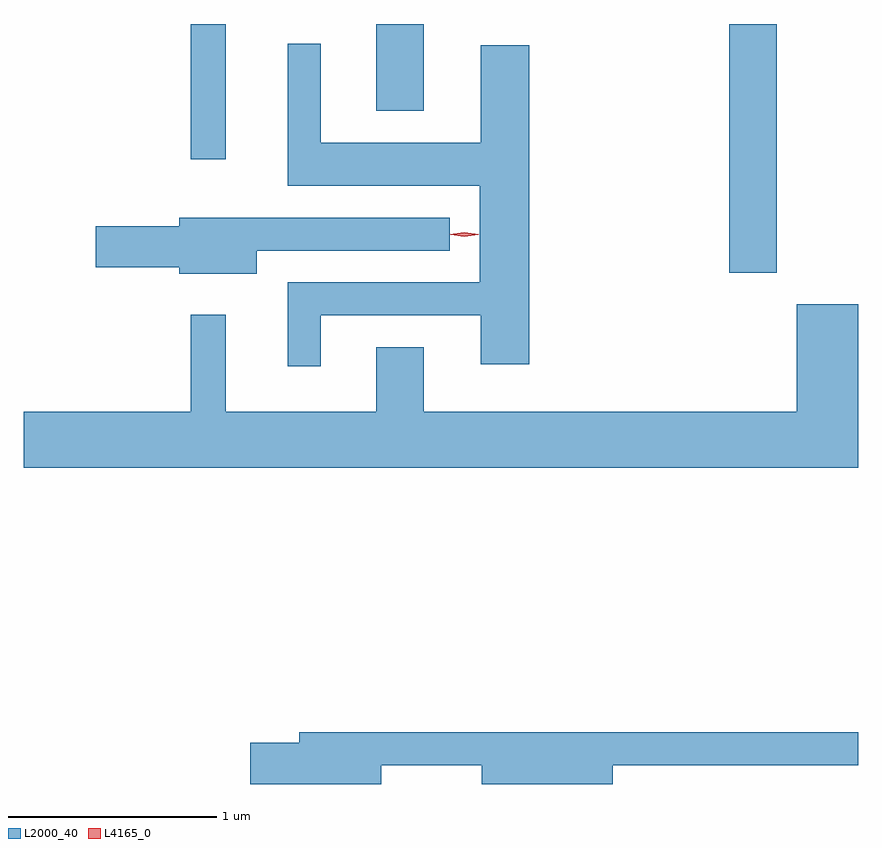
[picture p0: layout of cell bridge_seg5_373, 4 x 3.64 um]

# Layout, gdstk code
import gdstk
lib = gdstk.Library(unit=1e-6, precision=1e-09)
def R(c, l, rs):  # rectangles x0, y0, x1, y1
    for r in rs: c.add(gdstk.rectangle(r[:2], r[2:], *l))
def P(c, l, *ps):  # polygons
    for p in ps: c.add(gdstk.Polygon(p, *l))
L2000_40 = (2000, 40)
L4165_0 = (4165, 0)

bridge_seg5_373 = lib.new_cell('bridge_seg5_373')
R(bridge_seg5_373, L2000_40, [(580.901,1491.031,581.129,1492.222), (578.321,1491.573,578.489,1492.222), (579.211,1491.806,579.439,1492.222)])
P(bridge_seg5_373, L2000_40, [(578.944,1490.826),(579.711,1490.826),(579.711,1490.591),(579.944,1490.591),(579.944,1492.119),(579.711,1492.119),(579.711,1491.654),(578.944,1491.654),(578.944,1492.128),(578.786,1492.128),(578.786,1491.446),(579.706,1491.446),(579.706,1490.984),(578.786,1490.984),(578.786,1490.583),(578.944,1490.583)],
  [(578.639,1491.136),(579.563,1491.136),(579.563,1491.294),(578.266,1491.294),(578.266,1491.254),(577.866,1491.254),(577.866,1491.056),(578.266,1491.056),(578.266,1491.026),(578.639,1491.026)],
  [(581.521,1490.879),(581.226,1490.879),(581.226,1490.364),(579.439,1490.364),(579.439,1490.674),(579.211,1490.674),(579.211,1490.364),(578.489,1490.364),(578.489,1490.828),(578.321,1490.828),(578.321,1490.364),(577.521,1490.364),(577.521,1490.096),(581.521,1490.096)],
  [(579.234,1488.671),(579.716,1488.671),(579.716,1488.581),(580.344,1488.581),(580.344,1488.671),(581.521,1488.671),(581.521,1488.829),(578.841,1488.829),(578.841,1488.779),(578.606,1488.779),(578.606,1488.581),(579.234,1488.581)])
P(bridge_seg5_373, L4165_0, [(579.633,1491.205),(579.564,1491.214),(579.563,1491.215),(579.564,1491.215),(579.633,1491.225),(579.702,1491.215),(579.702,1491.215),(579.702,1491.214)],
  [(579.633,1491.203),(579.567,1491.212),(579.567,1491.213),(579.567,1491.213),(579.633,1491.223),(579.699,1491.213),(579.7,1491.213),(579.699,1491.212)])

lib.write_gds('bridge_seg5_373.gds')
